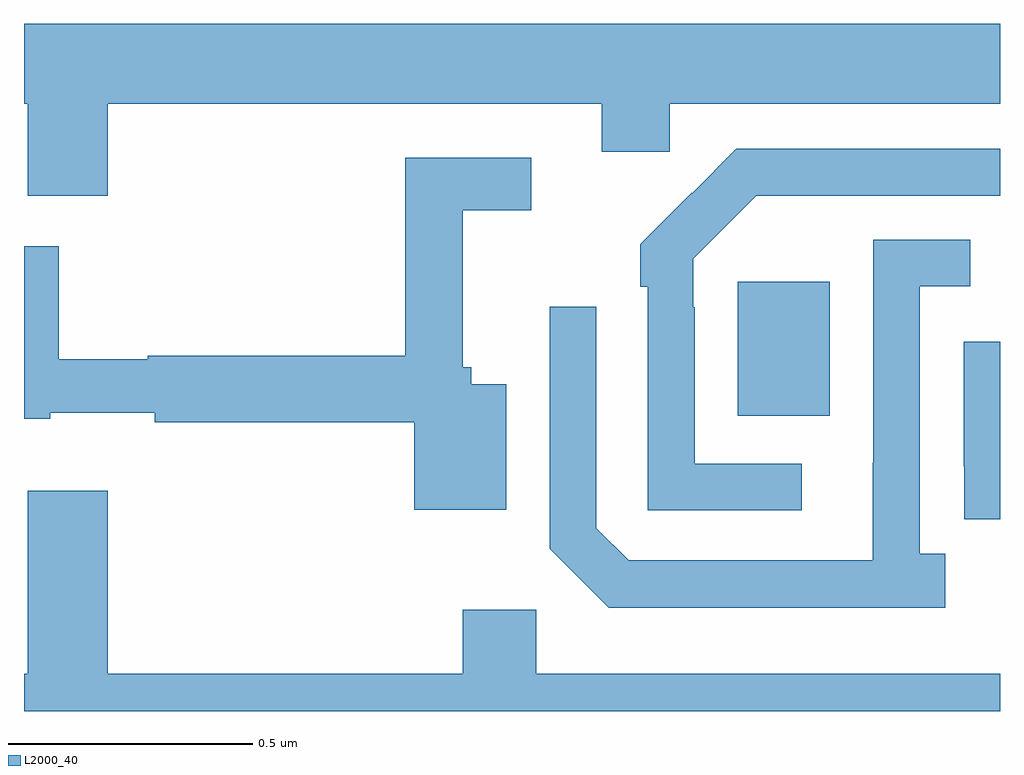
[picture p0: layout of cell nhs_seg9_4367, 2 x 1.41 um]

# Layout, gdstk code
import gdstk
lib = gdstk.Library(unit=1e-6, precision=1e-09)
def R(c, l, rs):  # rectangles x0, y0, x1, y1
    for r in rs: c.add(gdstk.rectangle(r[:2], r[2:], *l))
def P(c, l, *ps):  # polygons
    for p in ps: c.add(gdstk.Polygon(p, *l))
L2000_40 = (2000, 40)

nhs_seg9_4367 = lib.new_cell('nhs_seg9_4367')
R(nhs_seg9_4367, L2000_40, [(166.463,1205.105,166.651,1205.38)])
P(nhs_seg9_4367, L2000_40, [(165.172,1205.744),(166.184,1205.744),(166.184,1205.646),(166.323,1205.646),(166.323,1205.744),(167,1205.744),(167,1205.908),(165,1205.908),(165,1205.744),(165.008,1205.744),(165.008,1205.556),(165.172,1205.556)],
  [(166.594,1205.007),(166.374,1205.007),(166.374,1205.327),(166.371,1205.327),(166.371,1205.427),(166.5,1205.556),(167,1205.556),(167,1205.652),(166.46,1205.652),(166.369,1205.561),(166.368,1205.562),(166.263,1205.457),(166.263,1205.369),(166.278,1205.369),(166.278,1204.911),(166.594,1204.911)],
  [(165.988,1205.17),(165.916,1205.17),(165.916,1205.205),(165.899,1205.205),(165.899,1205.526),(166.039,1205.526),(166.039,1205.634),(165.781,1205.634),(165.781,1205.228),(165.254,1205.228),(165.254,1205.221),(165.071,1205.221),(165.071,1205.452),(165,1205.452),(165,1205.099),(165.054,1205.099),(165.054,1205.111),(165.268,1205.111),(165.268,1205.092),(165.8,1205.092),(165.8,1204.913),(165.988,1204.913)],
  [(166.888,1204.822),(166.836,1204.822),(166.836,1205.37),(166.939,1205.37),(166.939,1205.466),(166.74,1205.466),(166.74,1205.009),(166.739,1205.009),(166.739,1204.809),(166.239,1204.809),(166.173,1204.875),(166.173,1205.329),(166.077,1205.329),(166.077,1204.833),(166.198,1204.712),(166.888,1204.712)],
  [(167,1205.257),(166.926,1205.257),(166.926,1205.002),(166.927,1205.002),(166.927,1204.893),(167,1204.893)],
  [(167,1204.576),(166.05,1204.576),(166.05,1204.708),(165.899,1204.708),(165.899,1204.576),(165.172,1204.576),(165.172,1204.951),(165.008,1204.951),(165.008,1204.576),(165,1204.576),(165,1204.5),(167,1204.5)])

lib.write_gds('nhs_seg9_4367.gds')
